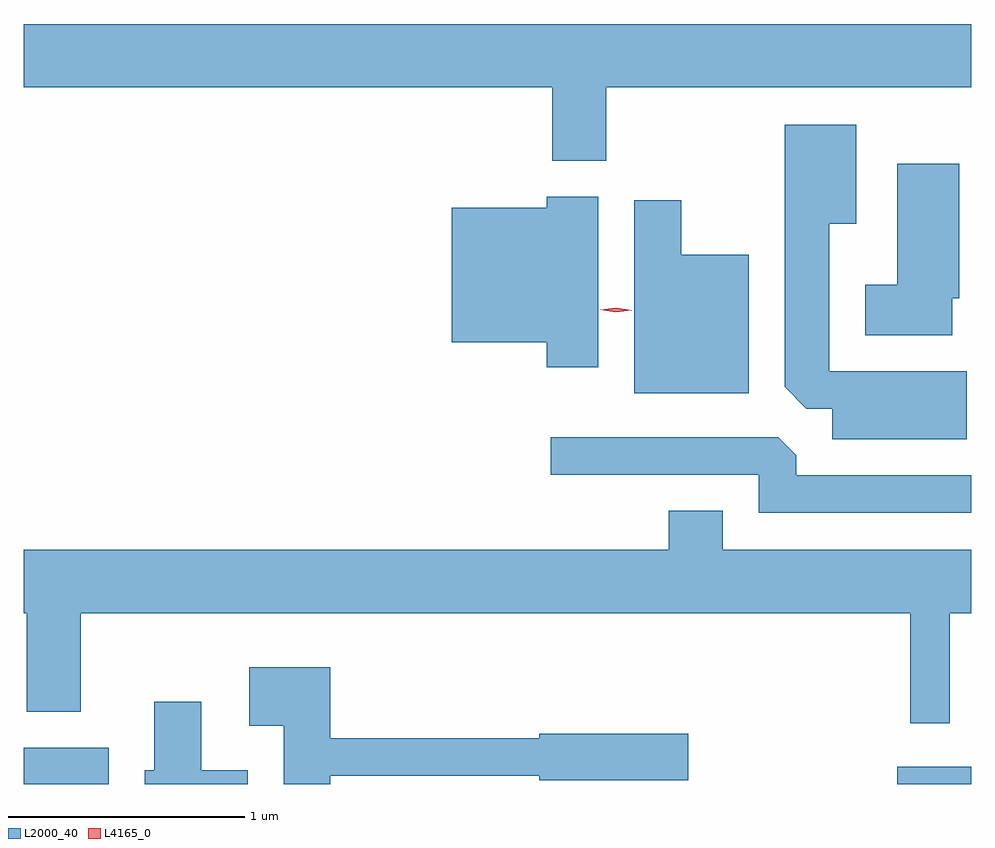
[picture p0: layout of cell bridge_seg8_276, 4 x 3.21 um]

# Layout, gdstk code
import gdstk
lib = gdstk.Library(unit=1e-6, precision=1e-09)
def R(c, l, rs):  # rectangles x0, y0, x1, y1
    for r in rs: c.add(gdstk.rectangle(r[:2], r[2:], *l))
def P(c, l, *ps):  # polygons
    for p in ps: c.add(gdstk.Polygon(p, *l))
L2000_40 = (2000, 40)
L4165_0 = (4165, 0)

bridge_seg8_276 = lib.new_cell('bridge_seg8_276')
R(bridge_seg8_276, L2000_40, [(1337.889,1840.136,1338.249,1840.289), (1341.576,1840.136,1341.889,1840.209)])
P(bridge_seg8_276, L2000_40, [(1340.349,1843.076),(1341.889,1843.076),(1341.889,1843.344),(1337.889,1843.344),(1337.889,1843.076),(1340.121,1843.076),(1340.121,1842.766),(1340.349,1842.766)],
  [(1341.869,1841.879),(1341.289,1841.879),(1341.289,1842.501),(1341.404,1842.501),(1341.404,1842.919),(1341.101,1842.919),(1341.101,1841.812),(1341.192,1841.721),(1341.301,1841.721),(1341.301,1841.591),(1341.869,1841.591)],
  [(1341.809,1842.186),(1341.839,1842.186),(1341.839,1842.754),(1341.576,1842.754),(1341.576,1842.244),(1341.441,1842.244),(1341.441,1842.031),(1341.809,1842.031)],
  [(1340.314,1842.614),(1340.096,1842.614),(1340.096,1842.569),(1339.696,1842.569),(1339.696,1842.001),(1340.096,1842.001),(1340.096,1841.896),(1340.314,1841.896)],
  [(1340.949,1842.369),(1340.664,1842.369),(1340.664,1842.599),(1340.466,1842.599),(1340.466,1841.786),(1340.949,1841.786)],
  [(1341.889,1841.439),(1341.149,1841.439),(1341.149,1841.524),(1341.074,1841.599),(1340.113,1841.599),(1340.113,1841.441),(1340.991,1841.441),(1340.991,1841.281),(1341.889,1841.281)],
  [(1341.631,1840.393),(1341.799,1840.393),(1341.799,1840.856),(1341.889,1840.856),(1341.889,1841.124),(1340.839,1841.124),(1340.839,1841.289),(1340.611,1841.289),(1340.611,1841.124),(1337.889,1841.124),(1337.889,1840.856),(1337.901,1840.856),(1337.901,1840.441),(1338.129,1840.441),(1338.129,1840.856),(1341.631,1840.856)],
  [(1339.184,1840.171),(1340.066,1840.171),(1340.066,1840.151),(1340.694,1840.151),(1340.694,1840.349),(1340.066,1840.349),(1340.066,1840.329),(1339.184,1840.329),(1339.184,1840.629),(1338.841,1840.629),(1338.841,1840.381),(1338.986,1840.381),(1338.986,1840.136),(1339.184,1840.136)],
  [(1338.834,1840.194),(1338.639,1840.194),(1338.639,1840.484),(1338.441,1840.484),(1338.441,1840.194),(1338.401,1840.194),(1338.401,1840.136),(1338.834,1840.136)])
P(bridge_seg8_276, L4165_0, [(1340.389,1842.127),(1340.323,1842.137),(1340.323,1842.138),(1340.323,1842.138),(1340.39,1842.147),(1340.456,1842.136),(1340.456,1842.136),(1340.456,1842.135)])

lib.write_gds('bridge_seg8_276.gds')
